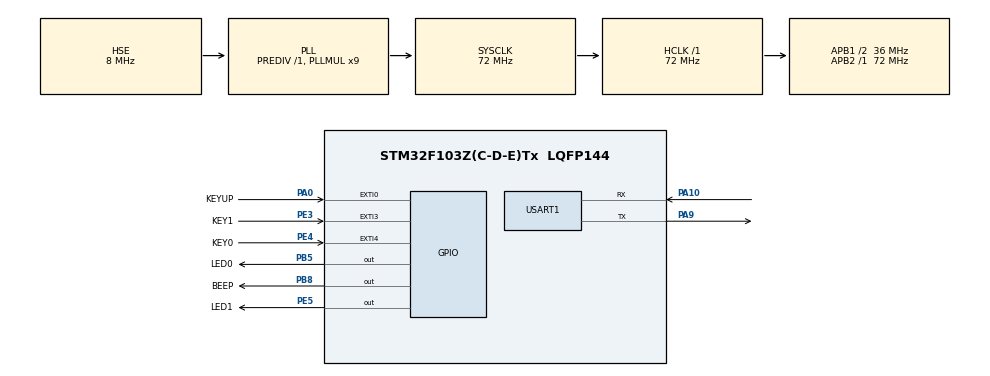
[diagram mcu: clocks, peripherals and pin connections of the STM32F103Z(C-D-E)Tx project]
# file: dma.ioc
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Dma.Request0=USART1_TX
Dma.Request1=USART1_RX
Dma.USART1_RX.1.Direction=DMA_PERIPH_TO_MEMORY
Dma.USART1_RX.1.Instance=DMA1_Channel5
Dma.USART1_RX.1.MemDataAlignment=DMA_MDATAALIGN_BYTE
Dma.USART1_RX.1.MemInc=DMA_MINC_ENABLE
Dma.USART1_RX.1.Mode=DMA_CIRCULAR
Dma.USART1_RX.1.PeriphDataAlignment=DMA_PDATAALIGN_BYTE
Dma.USART1_RX.1.PeriphInc=DMA_PINC_DISABLE
Dma.USART1_RX.1.Priority=DMA_PRIORITY_LOW
Dma.USART1_TX.0.Direction=DMA_MEMORY_TO_PERIPH
Dma.USART1_TX.0.Instance=DMA1_Channel4
Dma.USART1_TX.0.MemDataAlignment=DMA_MDATAALIGN_BYTE
Dma.USART1_TX.0.MemInc=DMA_MINC_ENABLE
Dma.USART1_TX.0.Mode=DMA_NORMAL
Dma.USART1_TX.0.PeriphDataAlignment=DMA_PDATAALIGN_BYTE
Dma.USART1_TX.0.PeriphInc=DMA_PINC_DISABLE
Dma.USART1_TX.0.Priority=DMA_PRIORITY_LOW
Mcu.Family=STM32F1
Mcu.Name=STM32F103Z(C-D-E)Tx
Mcu.Package=LQFP144
NVIC.DMA1_Channel4_IRQn=true\:0\:0\:false\:false\:true\:false\:true
NVIC.DMA1_Channel5_IRQn=true\:0\:0\:false\:false\:true\:false\:true
NVIC.EXTI0_IRQn=true\:1\:0\:true\:false\:true\:true\:true
NVIC.EXTI3_IRQn=true\:1\:0\:true\:false\:true\:true\:true
NVIC.EXTI4_IRQn=true\:1\:0\:true\:false\:true\:true\:true
NVIC.PriorityGroup=NVIC_PRIORITYGROUP_4
NVIC.USART1_IRQn=true\:0\:0\:false\:false\:true\:true\:true
OSC_IN.Mode=HSE-External-Oscillator
OSC_IN.Signal=RCC_OSC_IN
OSC_OUT.Mode=HSE-External-Oscillator
OSC_OUT.Signal=RCC_OSC_OUT
PA0-WKUP.GPIO_Label=KEYUP
PA0-WKUP.GPIO_ModeDefaultEXTI=GPIO_MODE_IT_RISING
PA0-WKUP.GPIO_PuPd=GPIO_PULLDOWN
PA0-WKUP.Signal=GPXTI0
PA10.Mode=Asynchronous
PA10.Signal=USART1_RX
PA13.Mode=Serial_Wire
PA13.Signal=SYS_JTMS-SWDIO
PA14.Mode=Serial_Wire
PA14.Signal=SYS_JTCK-SWCLK
PA9.Mode=Asynchronous
PA9.Signal=USART1_TX
PB5.GPIO_Label=LED0
PB5.PinState=GPIO_PIN_SET
PB5.Signal=GPIO_Output
PB8.GPIO_Label=BEEP
PB8.Signal=GPIO_Output
PE3.GPIO_Label=KEY1
PE3.GPIO_ModeDefaultEXTI=GPIO_MODE_IT_FALLING
PE3.GPIO_PuPd=GPIO_PULLUP
PE3.Signal=GPXTI3
PE4.GPIO_Label=KEY0
PE4.GPIO_ModeDefaultEXTI=GPIO_MODE_IT_FALLING
PE4.GPIO_PuPd=GPIO_PULLUP
PE4.Signal=GPXTI4
PE5.GPIO_Label=LED1
PE5.PinState=GPIO_PIN_SET
PE5.Signal=GPIO_Output
ProjectManager.HeapSize=0x200
ProjectManager.StackSize=0x400
ProjectManager.TargetToolchain=SW4STM32
RCC.AHBFreq_Value=72000000
RCC.APB1CLKDivider=RCC_HCLK_DIV2
RCC.APB1Freq_Value=36000000
RCC.APB1TimFreq_Value=72000000
RCC.APB2Freq_Value=72000000
RCC.APB2TimFreq_Value=72000000
RCC.HCLKFreq_Value=72000000
RCC.PLLMUL=RCC_PLL_MUL9
RCC.PLLSourceVirtual=RCC_PLLSOURCE_HSE
RCC.SYSCLKFreq_VALUE=72000000
RCC.SYSCLKSource=RCC_SYSCLKSOURCE_PLLCLK
RCC.USBFreq_Value=72000000
USART1.VirtualMode=VM_ASYNC
board=custom

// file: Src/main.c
/* USER CODE BEGIN Header */
/**
  ******************************************************************************
  * @file           : main.c
  * @brief          : Main program body
  ******************************************************************************
  * @attention
  *
  * <h2><center>&copy; Copyright (c) 2019 STMicroelectronics.
  * All rights reserved.</center></h2>
  *
  * This software component is licensed by ST under BSD 3-Clause license,
  * the "License"; You may not use this file except in compliance with the
  * License. You may obtain a copy of the License at:
  *                        opensource.org/licenses/BSD-3-Clause
  *
  ******************************************************************************
  */
/* USER CODE END Header */

#include "main.h"

/* USER CODE BEGIN Includes */
#include "stdbool.h"

/* USER CODE END Includes */

UART_HandleTypeDef huart1;
DMA_HandleTypeDef hdma_usart1_tx;
DMA_HandleTypeDef hdma_usart1_rx;

/* USER CODE BEGIN PV */
uint8_t buffer[2] = {'0', '0'};
bool tx_flag = 0;

/* USER CODE END PV */

void SystemClock_Config(void);
static void MX_GPIO_Init(void);
static void MX_DMA_Init(void);
static void MX_USART1_UART_Init(void);

/* USER CODE BEGIN 0 */
void HAL_UART_RxCpltCallback(UART_HandleTypeDef *huart) {
    //发送接收到的数据
    HAL_UART_Transmit_DMA(&huart1, buffer, 2);
    //等待接收下一组数据
    HAL_UART_Receive_DMA(&huart1, buffer, 2);
}

void HAL_UART_TxCpltCallback(UART_HandleTypeDef *huart) {
    tx_flag = 1;
}

/* USER CODE END 0 */

int main(void)
{

  /* MCU Configuration--------------------------------------------------------*/

  /* Reset of all peripherals, Initializes the Flash interface and the Systick. */
  HAL_Init();

  /* Configure the system clock */
  SystemClock_Config();

  /* Initialize all configured peripherals */
  MX_GPIO_Init();
  MX_DMA_Init();
  MX_USART1_UART_Init();
  /* USER CODE BEGIN 2 */
  HAL_UART_Receive_DMA(&huart1, buffer, 2);

  /* USER CODE END 2 */

  /* Infinite loop */
  /* USER CODE BEGIN WHILE */
  while (1)
  {
      HAL_GPIO_WritePin(LED0_GPIO_Port, LED0_Pin, buffer[0] == '1'? GPIO_PIN_RESET: GPIO_PIN_SET );
      HAL_GPIO_WritePin(LED1_GPIO_Port, LED1_Pin, buffer[1] == '1'? GPIO_PIN_RESET: GPIO_PIN_SET );
      if (tx_flag == 1) {
          tx_flag = 0;
          HAL_GPIO_WritePin(BEEP_GPIO_Port, BEEP_Pin, GPIO_PIN_SET);
          HAL_Delay(100);
          HAL_GPIO_WritePin(BEEP_GPIO_Port, BEEP_Pin, GPIO_PIN_RESET);
      }
    /* USER CODE END WHILE */

  }
}

void SystemClock_Config(void)
{
  RCC_OscInitTypeDef RCC_OscInitStruct = {0};
  RCC_ClkInitTypeDef RCC_ClkInitStruct = {0};

  /** Initializes the CPU, AHB and APB busses clocks
  */
  RCC_OscInitStruct.OscillatorType = RCC_OSCILLATORTYPE_HSE;
  RCC_OscInitStruct.HSEState = RCC_HSE_ON;
  RCC_OscInitStruct.HSEPredivValue = RCC_HSE_PREDIV_DIV1;
  RCC_OscInitStruct.HSIState = RCC_HSI_ON;
  RCC_OscInitStruct.PLL.PLLState = RCC_PLL_ON;
  RCC_OscInitStruct.PLL.PLLSource = RCC_PLLSOURCE_HSE;
  RCC_OscInitStruct.PLL.PLLMUL = RCC_PLL_MUL9;
  if (HAL_RCC_OscConfig(&RCC_OscInitStruct) != HAL_OK)
  {
    Error_Handler();
  }
  /** Initializes the CPU, AHB and APB busses clocks
  */
  RCC_ClkInitStruct.ClockType = RCC_CLOCKTYPE_HCLK|RCC_CLOCKTYPE_SYSCLK
                              |RCC_CLOCKTYPE_PCLK1|RCC_CLOCKTYPE_PCLK2;
  RCC_ClkInitStruct.SYSCLKSource = RCC_SYSCLKSOURCE_PLLCLK;
  RCC_ClkInitStruct.AHBCLKDivider = RCC_SYSCLK_DIV1;
  RCC_ClkInitStruct.APB1CLKDivider = RCC_HCLK_DIV2;
  RCC_ClkInitStruct.APB2CLKDivider = RCC_HCLK_DIV1;

  if (HAL_RCC_ClockConfig(&RCC_ClkInitStruct, FLASH_LATENCY_2) != HAL_OK)
  {
    Error_Handler();
  }
}

static void MX_USART1_UART_Init(void)
{

  huart1.Instance = USART1;
  huart1.Init.BaudRate = 115200;
  huart1.Init.WordLength = UART_WORDLENGTH_8B;
  huart1.Init.StopBits = UART_STOPBITS_1;
  huart1.Init.Parity = UART_PARITY_NONE;
  huart1.Init.Mode = UART_MODE_TX_RX;
  huart1.Init.HwFlowCtl = UART_HWCONTROL_NONE;
  huart1.Init.OverSampling = UART_OVERSAMPLING_16;
  if (HAL_UART_Init(&huart1) != HAL_OK)
  {
    Error_Handler();
  }

}

static void MX_DMA_Init(void)
{

  /* DMA controller clock enable */
  __HAL_RCC_DMA1_CLK_ENABLE();

  /* DMA interrupt init */
  /* DMA1_Channel4_IRQn interrupt configuration */
  HAL_NVIC_SetPriority(DMA1_Channel4_IRQn, 0, 0);
  HAL_NVIC_EnableIRQ(DMA1_Channel4_IRQn);
  /* DMA1_Channel5_IRQn interrupt configuration */
  HAL_NVIC_SetPriority(DMA1_Channel5_IRQn, 0, 0);
  HAL_NVIC_EnableIRQ(DMA1_Channel5_IRQn);

}

static void MX_GPIO_Init(void)
{
  GPIO_InitTypeDef GPIO_InitStruct = {0};

  /* GPIO Ports Clock Enable */
  __HAL_RCC_GPIOE_CLK_ENABLE();
  __HAL_RCC_GPIOA_CLK_ENABLE();
  __HAL_RCC_GPIOB_CLK_ENABLE();

  /*Configure GPIO pin Output Level */
  HAL_GPIO_WritePin(LED1_GPIO_Port, LED1_Pin, GPIO_PIN_SET);

  /*Configure GPIO pin Output Level */
  HAL_GPIO_WritePin(LED0_GPIO_Port, LED0_Pin, GPIO_PIN_SET);

  /*Configure GPIO pin Output Level */
  HAL_GPIO_WritePin(BEEP_GPIO_Port, BEEP_Pin, GPIO_PIN_RESET);

  /*Configure GPIO pins : KEY1_Pin KEY0_Pin */
  GPIO_InitStruct.Pin = KEY1_Pin|KEY0_Pin;
  GPIO_InitStruct.Mode = GPIO_MODE_IT_FALLING;
  GPIO_InitStruct.Pull = GPIO_PULLUP;
  HAL_GPIO_Init(GPIOE, &GPIO_InitStruct);

  /*Configure GPIO pin : LED1_Pin */
  GPIO_InitStruct.Pin = LED1_Pin;
  GPIO_InitStruct.Mode = GPIO_MODE_OUTPUT_PP;
  GPIO_InitStruct.Pull = GPIO_NOPULL;
  GPIO_InitStruct.Speed = GPIO_SPEED_FREQ_LOW;
  HAL_GPIO_Init(LED1_GPIO_Port, &GPIO_InitStruct);

  /*Configure GPIO pin : KEYUP_Pin */
  GPIO_InitStruct.Pin = KEYUP_Pin;
  GPIO_InitStruct.Mode = GPIO_MODE_IT_RISING;
  GPIO_InitStruct.Pull = GPIO_PULLDOWN;
  HAL_GPIO_Init(KEYUP_GPIO_Port, &GPIO_InitStruct);

  /*Configure GPIO pins : LED0_Pin BEEP_Pin */
  GPIO_InitStruct.Pin = LED0_Pin|BEEP_Pin;
  GPIO_InitStruct.Mode = GPIO_MODE_OUTPUT_PP;
  GPIO_InitStruct.Pull = GPIO_NOPULL;
  GPIO_InitStruct.Speed = GPIO_SPEED_FREQ_LOW;
  HAL_GPIO_Init(GPIOB, &GPIO_InitStruct);

  /* EXTI interrupt init*/
  HAL_NVIC_SetPriority(EXTI0_IRQn, 1, 0);
  HAL_NVIC_EnableIRQ(EXTI0_IRQn);

  HAL_NVIC_SetPriority(EXTI3_IRQn, 1, 0);
  HAL_NVIC_EnableIRQ(EXTI3_IRQn);

  HAL_NVIC_SetPriority(EXTI4_IRQn, 1, 0);
  HAL_NVIC_EnableIRQ(EXTI4_IRQn);

}

void Error_Handler(void)
{
}

/************************ (C) COPYRIGHT STMicroelectronics *****END OF FILE****/
